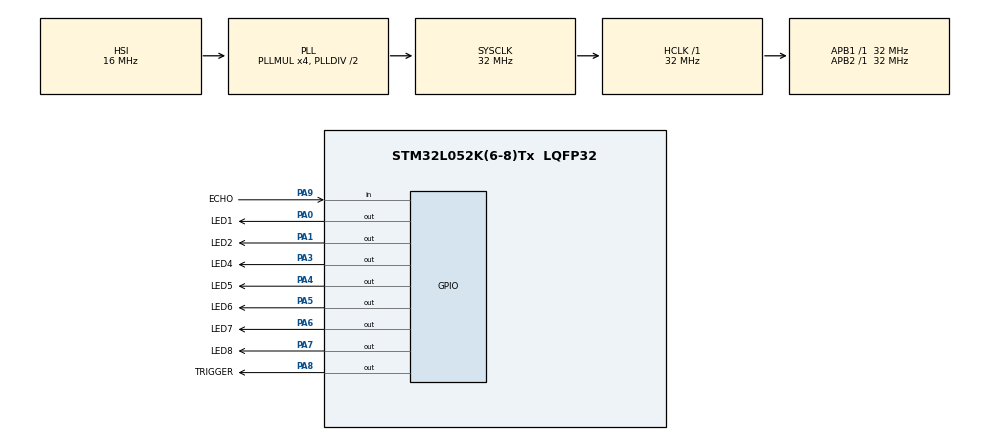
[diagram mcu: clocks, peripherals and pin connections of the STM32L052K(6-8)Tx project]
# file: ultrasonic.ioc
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Mcu.Family=STM32L0
Mcu.Name=STM32L052K(6-8)Tx
Mcu.Package=LQFP32
NVIC.TIM6_DAC_IRQn=true\:0\:0\:false\:true\:true\:1\:true\:true\:true
PA0.GPIO_Label=LED1
PA0.Signal=GPIO_Output
PA1.GPIO_Label=LED2
PA1.Signal=GPIO_Output
PA2.GPIO_Label=LED3
PA2.Signal=COMP2_OUT
PA3.GPIO_Label=LED4
PA3.Signal=GPIO_Output
PA4.GPIO_Label=LED5
PA4.Signal=GPIO_Output
PA5.GPIO_Label=LED6
PA5.Signal=GPIO_Output
PA6.GPIO_Label=LED7
PA6.Signal=GPIO_Output
PA7.GPIO_Label=LED8
PA7.Signal=GPIO_Output
PA8.GPIO_Label=TRIGGER
PA8.Signal=GPIO_Output
PA9.GPIO_Label=ECHO
PA9.Signal=GPIO_Input
ProjectManager.HeapSize=0x200
ProjectManager.StackSize=0x400
ProjectManager.TargetToolchain=STM32CubeIDE
RCC.AHBFreq_Value=32000000
RCC.APB1Freq_Value=32000000
RCC.APB1TimFreq_Value=32000000
RCC.APB2Freq_Value=32000000
RCC.APB2TimFreq_Value=32000000
RCC.HCLKFreq_Value=32000000
RCC.HSI16_VALUE=16000000
RCC.HSI48_VALUE=48000000
RCC.HSI_VALUE=16000000
RCC.LSE_VALUE=32768
RCC.MSI_VALUE=2097000
RCC.PLLMUL=RCC_PLLMUL_4
RCC.SYSCLKFreq_VALUE=32000000
RCC.SYSCLKSource=RCC_SYSCLKSOURCE_PLLCLK
RCC.VCOOutputFreq_Value=64000000
TIM6.Period=9
TIM6.Prescaler=32-1
VP_TIM6_VS_ClockSourceINT.Mode=Enable_Timer
board=custom

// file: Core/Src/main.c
/* USER CODE BEGIN Header */
/**
 ******************************************************************************
 * @file           : main.c
 * @brief          : Main program body
 ******************************************************************************
 * @attention
 *
 * Copyright (c) 2022 STMicroelectronics.
 * All rights reserved.
 *
 * This software is licensed under terms that can be found in the LICENSE file
 * in the root directory of this software component.
 * If no LICENSE file comes with this software, it is provided AS-IS.
 *
 ******************************************************************************
 */
/* USER CODE END Header */
#include "main.h"

/* USER CODE BEGIN Includes */
#include <stdio.h>
#include <stdlib.h>
/* USER CODE END Includes */

/* USER CODE BEGIN PTD */
typedef enum _boolean {
	false, true
} boolean;
typedef char *String;
/* USER CODE END PTD */

/* USER CODE BEGIN PD */
#define LED(N, X) HAL_GPIO_WritePin(LED##N##_GPIO_Port, LED##N##_Pin, X)
#define TRIGGER(X) HAL_GPIO_WritePin(TRIGGER_GPIO_Port, TRIGGER_Pin, X)
#define ECHO HAL_GPIO_ReadPin(TRIGGER_GPIO_Port, TRIGGER_Pin)
/* USER CODE END PD */

TIM_HandleTypeDef htim6;

/* USER CODE BEGIN PV */
boolean cnt = false;
uint64_t i10us = 0;
uint64_t count = 0;

/* USER CODE END PV */

void SystemClock_Config(void);
static void MX_GPIO_Init(void);
static void MX_TIM6_Init(void);
static void MX_NVIC_Init(void);

/* USER CODE BEGIN 0 */
void HAL_TIM_PeriodElapsedCallback(TIM_HandleTypeDef *htim) {
	if (htim->Instance == htim6.Instance) {
		i10us++;
		if(cnt){
			count++;
		}
	}
}

void getus(){
	while(ECHO){
		cnt = true;
	}
	cnt = false;
}
/* USER CODE END 0 */

int main(void) {
	/* USER CODE BEGIN 1 */
	uint64_t lastus = i10us;
	uint64_t cm = 0;

	HAL_TIM_Base_Start(&htim6);
	/* USER CODE END 1 */

	/* MCU Configuration--------------------------------------------------------*/

	/* Reset of all peripherals, Initializes the Flash interface and the Systick. */
	HAL_Init();

	/* Configure the system clock */
	SystemClock_Config();

	/* Initialize all configured peripherals */
	MX_GPIO_Init();
	MX_TIM6_Init();

	/* Initialize interrupts */
	MX_NVIC_Init();
	/* USER CODE BEGIN 2 */
	TRIGGER(false);
	/* USER CODE END 2 */

	/* Infinite loop */
	while (1) {

		/* USER CODE BEGIN 3 */
		if(lastus < i10us){
			HAL_GPIO_TogglePin(TRIGGER_GPIO_Port, TRIGGER_Pin);
			lastus == i10us;
		}
		getus();
		cm = ((float)((340 * count) / 10000) / 2);
		cm /= 10;

		LED(1, (cm > 1 ? true : false));

		HAL_Delay(500);
	}
	/* USER CODE END 3 */
}

void SystemClock_Config(void) {
	RCC_OscInitTypeDef RCC_OscInitStruct = { 0 };
	RCC_ClkInitTypeDef RCC_ClkInitStruct = { 0 };

	/** Configure the main internal regulator output voltage
	 */
	__HAL_PWR_VOLTAGESCALING_CONFIG(PWR_REGULATOR_VOLTAGE_SCALE1);

	/** Initializes the RCC Oscillators according to the specified parameters
	 * in the RCC_OscInitTypeDef structure.
	 */
	RCC_OscInitStruct.OscillatorType = RCC_OSCILLATORTYPE_HSI;
	RCC_OscInitStruct.HSIState = RCC_HSI_ON;
	RCC_OscInitStruct.HSICalibrationValue = RCC_HSICALIBRATION_DEFAULT;
	RCC_OscInitStruct.PLL.PLLState = RCC_PLL_ON;
	RCC_OscInitStruct.PLL.PLLSource = RCC_PLLSOURCE_HSI;
	RCC_OscInitStruct.PLL.PLLMUL = RCC_PLLMUL_4;
	RCC_OscInitStruct.PLL.PLLDIV = RCC_PLLDIV_2;
	if (HAL_RCC_OscConfig(&RCC_OscInitStruct) != HAL_OK) {
		Error_Handler();
	}

	/** Initializes the CPU, AHB and APB buses clocks
	 */
	RCC_ClkInitStruct.ClockType = RCC_CLOCKTYPE_HCLK | RCC_CLOCKTYPE_SYSCLK
			| RCC_CLOCKTYPE_PCLK1 | RCC_CLOCKTYPE_PCLK2;
	RCC_ClkInitStruct.SYSCLKSource = RCC_SYSCLKSOURCE_PLLCLK;
	RCC_ClkInitStruct.AHBCLKDivider = RCC_SYSCLK_DIV1;
	RCC_ClkInitStruct.APB1CLKDivider = RCC_HCLK_DIV1;
	RCC_ClkInitStruct.APB2CLKDivider = RCC_HCLK_DIV1;

	if (HAL_RCC_ClockConfig(&RCC_ClkInitStruct, FLASH_LATENCY_1) != HAL_OK) {
		Error_Handler();
	}
}

/**
 * @brief NVIC Configuration.
 * @retval None
 */
static void MX_NVIC_Init(void) {
	/* TIM6_DAC_IRQn interrupt configuration */
	HAL_NVIC_SetPriority(TIM6_DAC_IRQn, 0, 0);
	HAL_NVIC_EnableIRQ(TIM6_DAC_IRQn);
}

static void MX_TIM6_Init(void) {

	TIM_MasterConfigTypeDef sMasterConfig = { 0 };

	htim6.Instance = TIM6;
	htim6.Init.Prescaler = 32 - 1;
	htim6.Init.CounterMode = TIM_COUNTERMODE_UP;
	htim6.Init.Period = 9;
	htim6.Init.AutoReloadPreload = TIM_AUTORELOAD_PRELOAD_DISABLE;
	if (HAL_TIM_Base_Init(&htim6) != HAL_OK) {
		Error_Handler();
	}
	sMasterConfig.MasterOutputTrigger = TIM_TRGO_RESET;
	sMasterConfig.MasterSlaveMode = TIM_MASTERSLAVEMODE_DISABLE;
	if (HAL_TIMEx_MasterConfigSynchronization(&htim6, &sMasterConfig)
			!= HAL_OK) {
		Error_Handler();
	}

}

static void MX_GPIO_Init(void) {
	GPIO_InitTypeDef GPIO_InitStruct = { 0 };

	/* GPIO Ports Clock Enable */
	__HAL_RCC_GPIOA_CLK_ENABLE();

	/*Configure GPIO pin Output Level */
	HAL_GPIO_WritePin(GPIOA,
			LED1_Pin | LED2_Pin | LED4_Pin | LED5_Pin | LED6_Pin | LED7_Pin
					| LED8_Pin | TRIGGER_Pin, GPIO_PIN_RESET);

	/*Configure GPIO pins : LED1_Pin LED2_Pin LED4_Pin LED5_Pin
	 LED6_Pin LED7_Pin LED8_Pin TRIGGER_Pin */
	GPIO_InitStruct.Pin = LED1_Pin | LED2_Pin | LED4_Pin | LED5_Pin | LED6_Pin
			| LED7_Pin | LED8_Pin | TRIGGER_Pin;
	GPIO_InitStruct.Mode = GPIO_MODE_OUTPUT_PP;
	GPIO_InitStruct.Pull = GPIO_NOPULL;
	GPIO_InitStruct.Speed = GPIO_SPEED_FREQ_LOW;
	HAL_GPIO_Init(GPIOA, &GPIO_InitStruct);

	/*Configure GPIO pin : LED3_Pin */
	GPIO_InitStruct.Pin = LED3_Pin;
	GPIO_InitStruct.Mode = GPIO_MODE_AF_PP;
	GPIO_InitStruct.Pull = GPIO_NOPULL;
	GPIO_InitStruct.Speed = GPIO_SPEED_FREQ_LOW;
	GPIO_InitStruct.Alternate = GPIO_AF7_COMP2;
	HAL_GPIO_Init(LED3_GPIO_Port, &GPIO_InitStruct);

	/*Configure GPIO pin : ECHO_Pin */
	GPIO_InitStruct.Pin = ECHO_Pin;
	GPIO_InitStruct.Mode = GPIO_MODE_INPUT;
	GPIO_InitStruct.Pull = GPIO_NOPULL;
	HAL_GPIO_Init(ECHO_GPIO_Port, &GPIO_InitStruct);

}

void Error_Handler(void) {
	__disable_irq();
	while (1) {
	}
}
